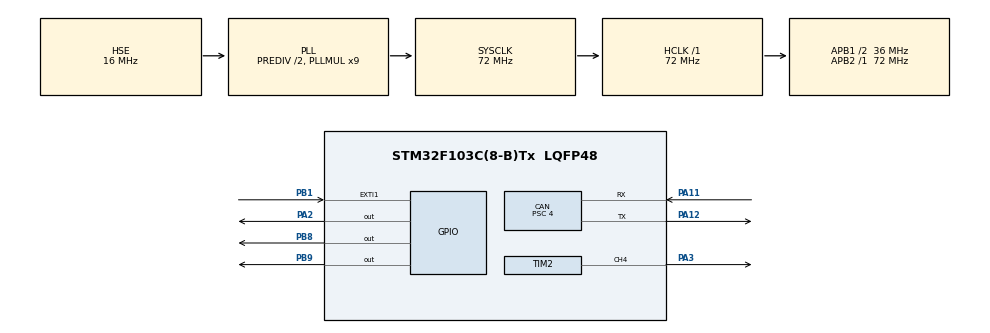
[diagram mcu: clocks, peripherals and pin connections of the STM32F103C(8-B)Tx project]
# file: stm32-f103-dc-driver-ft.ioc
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CAN.BS1=CAN_BS1_7TQ
CAN.CalculateTimeBit=1000
CAN.CalculateTimeQuantum=111.11111111111111
CAN.Prescaler=4
FREERTOS.Tasks01=firstTask,24,128,StartDefaultTask,Default,NULL,Dynamic,NULL,NULL;secondTask,8,128,StartTask02,Default,NULL,Dynamic,NULL,NULL;thirdTask,8,128,StartTask03,Default,NULL,Dynamic,NULL,NULL
Mcu.Family=STM32F1
Mcu.Name=STM32F103C(8-B)Tx
Mcu.Package=LQFP48
NVIC.EXTI1_IRQn=true\:0\:0\:false\:false\:true\:false\:true\:true
NVIC.PriorityGroup=NVIC_PRIORITYGROUP_4
NVIC.TIM1_UP_IRQn=true\:0\:0\:false\:false\:true\:true\:true\:true
NVIC.TIM4_IRQn=true\:0\:0\:false\:false\:true\:false\:false\:true
NVIC.TimeBase=TIM4_IRQn
NVIC.TimeBaseIP=TIM4
NVIC.USB_LP_CAN1_RX0_IRQn=true\:0\:0\:false\:false\:true\:false\:true\:true
PA0-WKUP.Mode=SYS_WakeUp0
PA0-WKUP.Signal=SYS_WKUP
PA11.Mode=Master
PA11.Signal=CAN_RX
PA12.Mode=Master
PA12.Signal=CAN_TX
PA13.Mode=Trace_Asynchronous_SW
PA13.Signal=SYS_JTMS-SWDIO
PA14.Mode=Trace_Asynchronous_SW
PA14.Signal=SYS_JTCK-SWCLK
PA2.Signal=GPIO_Output
PA3.Signal=S_TIM2_CH4
PB1.Signal=GPXTI1
PB3.Mode=Trace_Asynchronous_SW
PB3.Signal=SYS_JTDO-TRACESWO
PB8.Signal=GPIO_Output
PB9.Signal=GPIO_Output
PD0-OSC_IN.Mode=HSE-External-Oscillator
PD0-OSC_IN.Signal=RCC_OSC_IN
PD1-OSC_OUT.Mode=HSE-External-Oscillator
PD1-OSC_OUT.Signal=RCC_OSC_OUT
ProjectManager.HeapSize=0x200
ProjectManager.StackSize=0x400
ProjectManager.TargetToolchain=STM32CubeIDE
RCC.AHBFreq_Value=72000000
RCC.APB1CLKDivider=RCC_HCLK_DIV2
RCC.APB1Freq_Value=36000000
RCC.APB1TimFreq_Value=72000000
RCC.APB2Freq_Value=72000000
RCC.APB2TimFreq_Value=72000000
RCC.HCLKFreq_Value=72000000
RCC.HSEDivPLL=RCC_HSE_PREDIV_DIV2
RCC.HSE_VALUE=16000000
RCC.PLLMUL=RCC_PLL_MUL9
RCC.PLLSourceVirtual=RCC_PLLSOURCE_HSE
RCC.SYSCLKFreq_VALUE=72000000
RCC.SYSCLKSource=RCC_SYSCLKSOURCE_PLLCLK
RCC.USBFreq_Value=72000000
SH.S_TIM2_CH4.0=TIM2_CH4,PWM Generation4 CH4
TIM2.Channel-PWM\ Generation4\ CH4=TIM_CHANNEL_4
TIM2.Period=3599
TIM2.Prescaler=1
VP_FREERTOS_VS_CMSIS_V2.Mode=CMSIS_V2
VP_SYS_VS_tim4.Mode=TIM4
VP_TIM1_VS_ClockSourceINT.Mode=Internal
VP_TIM2_VS_ClockSourceINT.Mode=Internal
board=custom

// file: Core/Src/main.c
/* USER CODE BEGIN Header */
/**
  ******************************************************************************
  * @file           : main.c
  * @brief          : Main program body
  ******************************************************************************
  * @attention
  *
  * <h2><center>&copy; Copyright (c) 2020 STMicroelectronics.
  * All rights reserved.</center></h2>
  *
  * This software component is licensed by ST under BSD 3-Clause license,
  * the "License"; You may not use this file except in compliance with the
  * License. You may obtain a copy of the License at:
  *                        opensource.org/licenses/BSD-3-Clause
  *
  ******************************************************************************
  */
/* USER CODE END Header */
#include "main.h"
#include "cmsis_os.h"

/* USER CODE BEGIN PD */
#define _CW 0
#define _CCW 1
#define _STOP 2
/* USER CODE END PD */

CAN_HandleTypeDef hcan;

TIM_HandleTypeDef htim1;
TIM_HandleTypeDef htim2;

/* Definitions for firstTask */
osThreadId_t firstTaskHandle;
const osThreadAttr_t firstTask_attributes = {
  .name = "firstTask",
  .priority = (osPriority_t) osPriorityNormal,
  .stack_size = 128 * 4
};
/* Definitions for secondTask */
osThreadId_t secondTaskHandle;
const osThreadAttr_t secondTask_attributes = {
  .name = "secondTask",
  .priority = (osPriority_t) osPriorityLow,
  .stack_size = 128 * 4
};
/* Definitions for thirdTask */
osThreadId_t thirdTaskHandle;
const osThreadAttr_t thirdTask_attributes = {
  .name = "thirdTask",
  .priority = (osPriority_t) osPriorityLow,
  .stack_size = 128 * 4
};
/* USER CODE BEGIN PV */
CAN_TxHeaderTypeDef pHeader;
CAN_RxHeaderTypeDef pRxHeader;
CAN_FilterTypeDef sFilterConfig;
uint32_t TxMailbox;

uint8_t driver_tx_data[4] = {0};
uint8_t can_rx_control_data[8] = {0};
uint8_t can_rx_side;
uint8_t can_rx_speed;

uint8_t can_tx_side;

volatile uint16_t encoder_tick;
volatile uint16_t f;
uint8_t encoder_speed;
uint16_t pwm;
uint16_t dc_driver_pwm = 0;

uint32_t encoder_ratio = 861;
uint32_t header_id = 0x3A;
uint32_t filter_id = 0x3F;
uint32_t input_capture = 0;
uint32_t sys_tick;
uint32_t tim1_tick;
uint32_t can;
//double inc = 0;
//double u_pwm = 0;

uint8_t sp = 0;
uint8_t current_st = 0;

float _dt = 1;
float _Max = 3600;
float _Min = 0;
float _max = 500;
float _min = -500;
float _Kp = 1.0;
float _Kd = 1.0;
float _pre_error = 0;

float u_pwm = 0;
float u_pwm_right = 0;
float u_pwm_left = 0;

struct a {
	int a;
	int b;
};

enum States
{
	State_Start,
	State_CW,
	State_CCW,
	State_Stop
};

uint8_t status = State_CCW;
/* USER CODE END PV */

void SystemClock_Config(void);
static void MX_GPIO_Init(void);
static void MX_CAN_Init(void);
static void MX_TIM2_Init(void);
static void MX_TIM1_Init(void);
void StartDefaultTask(void *argument);
void StartTask02(void *argument);
void StartTask03(void *argument);

/* USER CODE BEGIN 0 */
float calculate_pwm( float target_speed, float current_speed )
{
	float error = target_speed - current_speed;
	float Pout = _Kp * error;
	float derivative = (error - _pre_error) / _dt;
	float Dout = _Kd * derivative;
	float output = Pout + Dout;
    if( output > _max )
        output = _max;
    else if( output < _min )
        output = _min;
    _pre_error = error;
    return output;
}

/* USER CODE END 0 */

int main(void)
{

  /* MCU Configuration--------------------------------------------------------*/

  /* Reset of all peripherals, Initializes the Flash interface and the Systick. */
	HAL_Init();

  /* Configure the system clock */
  SystemClock_Config();

  /* Initialize all configured peripherals */
  MX_GPIO_Init();
  MX_CAN_Init();
  MX_TIM2_Init();
  MX_TIM1_Init();
  /* USER CODE BEGIN 2 */
  HAL_TIM_Base_Start_IT(&htim1);
  HAL_TIM_PWM_Start(&htim2, TIM_CHANNEL_4);
  HAL_GPIO_WritePin(GPIOA,GPIO_PIN_2,GPIO_PIN_SET);

  pHeader.DLC = 4;
  pHeader.IDE = CAN_ID_STD;
  pHeader.RTR = CAN_RTR_DATA;
  pHeader.StdId = header_id;

  sFilterConfig.FilterFIFOAssignment = CAN_FILTER_FIFO0;
  sFilterConfig.FilterIdHigh = filter_id <<5;
  sFilterConfig.FilterIdLow = 0;
  sFilterConfig.FilterMaskIdHigh = 0;
  sFilterConfig.FilterMaskIdLow = 0;
  sFilterConfig.FilterScale = CAN_FILTERSCALE_16BIT;
  sFilterConfig.FilterMode = CAN_FILTERMODE_IDLIST;
  sFilterConfig.FilterActivation = ENABLE;
  HAL_CAN_ConfigFilter(&hcan, &sFilterConfig);

  HAL_CAN_Start(&hcan);
  HAL_CAN_ActivateNotification(&hcan, CAN_IT_RX_FIFO0_MSG_PENDING);
  /* USER CODE END 2 */

  /* Init scheduler */
  osKernelInitialize();

  /* Create the thread(s) */
  /* creation of firstTask */
  firstTaskHandle = osThreadNew(StartDefaultTask, NULL, &firstTask_attributes);

  /* creation of secondTask */
  secondTaskHandle = osThreadNew(StartTask02, NULL, &secondTask_attributes);

  /* creation of thirdTask */
  thirdTaskHandle = osThreadNew(StartTask03, NULL, &thirdTask_attributes);

  /* Start scheduler */
  osKernelStart();

  /* We should never get here as control is now taken by the scheduler */
  /* Infinite loop */
  while (1)
  {

  }
}

void SystemClock_Config(void)
{
  RCC_OscInitTypeDef RCC_OscInitStruct = {0};
  RCC_ClkInitTypeDef RCC_ClkInitStruct = {0};

  /** Initializes the RCC Oscillators according to the specified parameters
  * in the RCC_OscInitTypeDef structure.
  */
  RCC_OscInitStruct.OscillatorType = RCC_OSCILLATORTYPE_HSE;
  RCC_OscInitStruct.HSEState = RCC_HSE_ON;
  RCC_OscInitStruct.HSEPredivValue = RCC_HSE_PREDIV_DIV2;
  RCC_OscInitStruct.HSIState = RCC_HSI_ON;
  RCC_OscInitStruct.PLL.PLLState = RCC_PLL_ON;
  RCC_OscInitStruct.PLL.PLLSource = RCC_PLLSOURCE_HSE;
  RCC_OscInitStruct.PLL.PLLMUL = RCC_PLL_MUL9;
  if (HAL_RCC_OscConfig(&RCC_OscInitStruct) != HAL_OK)
  {
    Error_Handler();
  }
  /** Initializes the CPU, AHB and APB buses clocks
  */
  RCC_ClkInitStruct.ClockType = RCC_CLOCKTYPE_HCLK|RCC_CLOCKTYPE_SYSCLK
                              |RCC_CLOCKTYPE_PCLK1|RCC_CLOCKTYPE_PCLK2;
  RCC_ClkInitStruct.SYSCLKSource = RCC_SYSCLKSOURCE_PLLCLK;
  RCC_ClkInitStruct.AHBCLKDivider = RCC_SYSCLK_DIV1;
  RCC_ClkInitStruct.APB1CLKDivider = RCC_HCLK_DIV2;
  RCC_ClkInitStruct.APB2CLKDivider = RCC_HCLK_DIV1;

  if (HAL_RCC_ClockConfig(&RCC_ClkInitStruct, FLASH_LATENCY_2) != HAL_OK)
  {
    Error_Handler();
  }
}

static void MX_CAN_Init(void)
{

  hcan.Instance = CAN1;
  hcan.Init.Prescaler = 4;
  hcan.Init.Mode = CAN_MODE_NORMAL;
  hcan.Init.SyncJumpWidth = CAN_SJW_1TQ;
  hcan.Init.TimeSeg1 = CAN_BS1_7TQ;
  hcan.Init.TimeSeg2 = CAN_BS2_1TQ;
  hcan.Init.TimeTriggeredMode = DISABLE;
  hcan.Init.AutoBusOff = DISABLE;
  hcan.Init.AutoWakeUp = DISABLE;
  hcan.Init.AutoRetransmission = DISABLE;
  hcan.Init.ReceiveFifoLocked = DISABLE;
  hcan.Init.TransmitFifoPriority = DISABLE;
  if (HAL_CAN_Init(&hcan) != HAL_OK)
  {
    Error_Handler();
  }

}

static void MX_TIM1_Init(void)
{

  TIM_ClockConfigTypeDef sClockSourceConfig = {0};
  TIM_MasterConfigTypeDef sMasterConfig = {0};

  htim1.Instance = TIM1;
  htim1.Init.Prescaler = 719;
  htim1.Init.CounterMode = TIM_COUNTERMODE_UP;
  htim1.Init.Period = 19999;
  htim1.Init.ClockDivision = TIM_CLOCKDIVISION_DIV1;
  htim1.Init.RepetitionCounter = 0;
  htim1.Init.AutoReloadPreload = TIM_AUTORELOAD_PRELOAD_DISABLE;
  if (HAL_TIM_Base_Init(&htim1) != HAL_OK)
  {
    Error_Handler();
  }
  sClockSourceConfig.ClockSource = TIM_CLOCKSOURCE_INTERNAL;
  if (HAL_TIM_ConfigClockSource(&htim1, &sClockSourceConfig) != HAL_OK)
  {
    Error_Handler();
  }
  sMasterConfig.MasterOutputTrigger = TIM_TRGO_RESET;
  sMasterConfig.MasterSlaveMode = TIM_MASTERSLAVEMODE_DISABLE;
  if (HAL_TIMEx_MasterConfigSynchronization(&htim1, &sMasterConfig) != HAL_OK)
  {
    Error_Handler();
  }

}

static void MX_TIM2_Init(void)
{

  TIM_ClockConfigTypeDef sClockSourceConfig = {0};
  TIM_MasterConfigTypeDef sMasterConfig = {0};
  TIM_OC_InitTypeDef sConfigOC = {0};

  htim2.Instance = TIM2;
  htim2.Init.Prescaler = 1;
  htim2.Init.CounterMode = TIM_COUNTERMODE_UP;
  htim2.Init.Period = 3599;
  htim2.Init.ClockDivision = TIM_CLOCKDIVISION_DIV1;
  htim2.Init.AutoReloadPreload = TIM_AUTORELOAD_PRELOAD_DISABLE;
  if (HAL_TIM_Base_Init(&htim2) != HAL_OK)
  {
    Error_Handler();
  }
  sClockSourceConfig.ClockSource = TIM_CLOCKSOURCE_INTERNAL;
  if (HAL_TIM_ConfigClockSource(&htim2, &sClockSourceConfig) != HAL_OK)
  {
    Error_Handler();
  }
  if (HAL_TIM_PWM_Init(&htim2) != HAL_OK)
  {
    Error_Handler();
  }
  sMasterConfig.MasterOutputTrigger = TIM_TRGO_RESET;
  sMasterConfig.MasterSlaveMode = TIM_MASTERSLAVEMODE_DISABLE;
  if (HAL_TIMEx_MasterConfigSynchronization(&htim2, &sMasterConfig) != HAL_OK)
  {
    Error_Handler();
  }
  sConfigOC.OCMode = TIM_OCMODE_PWM1;
  sConfigOC.Pulse = 0;
  sConfigOC.OCPolarity = TIM_OCPOLARITY_HIGH;
  sConfigOC.OCFastMode = TIM_OCFAST_DISABLE;
  if (HAL_TIM_PWM_ConfigChannel(&htim2, &sConfigOC, TIM_CHANNEL_4) != HAL_OK)
  {
    Error_Handler();
  }
  HAL_TIM_MspPostInit(&htim2);

}

static void MX_GPIO_Init(void)
{
  GPIO_InitTypeDef GPIO_InitStruct = {0};

  /* GPIO Ports Clock Enable */
  __HAL_RCC_GPIOD_CLK_ENABLE();
  __HAL_RCC_GPIOA_CLK_ENABLE();
  __HAL_RCC_GPIOB_CLK_ENABLE();

  /*Configure GPIO pin Output Level */
  HAL_GPIO_WritePin(GPIOA, GPIO_PIN_2, GPIO_PIN_RESET);

  /*Configure GPIO pin Output Level */
  HAL_GPIO_WritePin(GPIOB, GPIO_PIN_8|GPIO_PIN_9, GPIO_PIN_RESET);

  /*Configure GPIO pin : PA2 */
  GPIO_InitStruct.Pin = GPIO_PIN_2;
  GPIO_InitStruct.Mode = GPIO_MODE_OUTPUT_PP;
  GPIO_InitStruct.Pull = GPIO_NOPULL;
  GPIO_InitStruct.Speed = GPIO_SPEED_FREQ_LOW;
  HAL_GPIO_Init(GPIOA, &GPIO_InitStruct);

  /*Configure GPIO pin : PB1 */
  GPIO_InitStruct.Pin = GPIO_PIN_1;
  GPIO_InitStruct.Mode = GPIO_MODE_IT_RISING;
  GPIO_InitStruct.Pull = GPIO_NOPULL;
  HAL_GPIO_Init(GPIOB, &GPIO_InitStruct);

  /*Configure GPIO pins : PB8 PB9 */
  GPIO_InitStruct.Pin = GPIO_PIN_8|GPIO_PIN_9;
  GPIO_InitStruct.Mode = GPIO_MODE_OUTPUT_PP;
  GPIO_InitStruct.Pull = GPIO_NOPULL;
  GPIO_InitStruct.Speed = GPIO_SPEED_FREQ_LOW;
  HAL_GPIO_Init(GPIOB, &GPIO_InitStruct);

  /* EXTI interrupt init*/
  HAL_NVIC_SetPriority(EXTI1_IRQn, 0, 0);
  HAL_NVIC_EnableIRQ(EXTI1_IRQn);

}

/* USER CODE BEGIN 4 */
void rotate_ccw(uint8_t r_speed) {
	HAL_GPIO_WritePin(GPIOB,GPIO_PIN_8,GPIO_PIN_RESET);
	HAL_GPIO_WritePin(GPIOB,GPIO_PIN_9,GPIO_PIN_SET);
	can_tx_side = 1;
	float inc = calculate_pwm((float)(r_speed), (float)encoder_speed);
	u_pwm += inc;
	if( u_pwm > _Max )
		u_pwm = _Max;
	else if( u_pwm < _Min )
		u_pwm = _Min;
	dc_driver_pwm = u_pwm;
	TIM2->CCR4 = (uint16_t)dc_driver_pwm;
}

void rotate_cw(uint8_t l_speed) {
	HAL_GPIO_WritePin(GPIOB,GPIO_PIN_8,GPIO_PIN_SET);
	HAL_GPIO_WritePin(GPIOB,GPIO_PIN_9,GPIO_PIN_RESET);
	can_tx_side = 2;
	float inc = calculate_pwm((float)(l_speed), (float)encoder_speed);
	u_pwm += inc;
	if( u_pwm > _Max )
		u_pwm = _Max;
	else if( u_pwm < _Min )
		u_pwm = _Min;
	dc_driver_pwm = u_pwm;
	pwm = TIM2->CCR4;
	TIM2->CCR4 = (uint16_t)dc_driver_pwm;
}

void reduce_speed_ccw() {
	HAL_GPIO_WritePin(GPIOB,GPIO_PIN_8,GPIO_PIN_RESET);
	HAL_GPIO_WritePin(GPIOB,GPIO_PIN_9,GPIO_PIN_SET);
	can_tx_side = 1;
	float inc = calculate_pwm(0, (float)encoder_speed);
	u_pwm += inc;
	//TIM2->CCR4 -= 1;
	pwm = TIM2->CCR4;
	if( u_pwm > _Max )
		u_pwm = _Max;
	else if( u_pwm < _Min )
		u_pwm = _Min;
	dc_driver_pwm = u_pwm;
	//for (int i = 0; i<50000; ++i) {__NOP();}
	//HAL_Delay(10);
	TIM2->CCR4 = (uint16_t)dc_driver_pwm;
}

void reduce_speed_cw() {
	HAL_GPIO_WritePin(GPIOB,GPIO_PIN_8,GPIO_PIN_SET);
	HAL_GPIO_WritePin(GPIOB,GPIO_PIN_9,GPIO_PIN_RESET);
	can_tx_side = 2;
	float inc = calculate_pwm(0, (float)encoder_speed);
	u_pwm += inc;
	//TIM2->CCR4 -= 1;
	pwm = TIM2->CCR4;
	if( u_pwm > _Max )
		u_pwm = _Max;
	else if( u_pwm < _Min )
		u_pwm = _Min;
	dc_driver_pwm = u_pwm;
	//for (int i = 0; i<50000; ++i) {__NOP();}
	//HAL_Delay(10);
	TIM2->CCR4 = (uint16_t)dc_driver_pwm;
}

void stop_movement(void)
{
	HAL_GPIO_WritePin(GPIOB,GPIO_PIN_8,GPIO_PIN_RESET);
	HAL_GPIO_WritePin(GPIOB,GPIO_PIN_9,GPIO_PIN_RESET);
	TIM2->CCR4 = 200;
	u_pwm = 200;
}
/* USER CODE END 4 */

void StartDefaultTask(void *argument)
{
  /* USER CODE BEGIN 5 */
  /* Infinite loop */
  for(;;)
  {
    if ((can_rx_side == 1)&&(status == State_CCW)) {
		rotate_ccw(can_rx_speed);
		status = State_CCW;
		current_st = 1;
	}
	else if ((can_rx_side == 0)&&(status == State_CCW)) {
		current_st = 2;
		//while (encoder_speed != 0) {
			//while (TIM2->CCR4 > 50) {
			reduce_speed_ccw();
		//}
		if (encoder_speed <= 5) {
			stop_movement();
			status = State_CW;
		}
	}
	else if ((can_rx_side == 0)&&(status == State_CW)) {
		rotate_cw(can_rx_speed);
		current_st = 3;
		status = State_CW;
	}
	else if ((can_rx_side == 1)&&(status == State_CW)) {
		current_st = 4;
		//while (encoder_speed != 0) {
		//while (TIM2->CCR4 > 50) {
			reduce_speed_cw();
		//}
		if (encoder_speed <= 5) {
			stop_movement();
			status = State_CCW;
		}
	}
	else if (can_rx_speed == 0) {
		current_st = 5;
		stop_movement();
	}
//	  rotate_ccw(60);
    osDelay(20);
  }
  /* USER CODE END 5 */
}

void StartTask02(void *argument)
{
  /* USER CODE BEGIN StartTask02 */
  /* Infinite loop */
  for(;;)
  {
      osDelay(5000);
  }
  /* USER CODE END StartTask02 */
}

void StartTask03(void *argument)
{
  /* USER CODE BEGIN StartTask03 */
  /* Infinite loop */
  for(;;)
  {
	driver_tx_data[0] = encoder_speed;
	driver_tx_data[1] = can_tx_side;
	HAL_CAN_AddTxMessage(&hcan, &pHeader, driver_tx_data, &TxMailbox);
    osDelay(20);
  }
  /* USER CODE END StartTask03 */
}

void HAL_TIM_PeriodElapsedCallback(TIM_HandleTypeDef *htim)
{
  if (htim->Instance == TIM4) {
	sys_tick++;
    HAL_IncTick();
  }
  /* USER CODE BEGIN Callback 1 */
  if (htim->Instance == TIM1) {
	encoder_speed = (uint8_t)(encoder_tick*(float)300/encoder_ratio);
	encoder_tick = 0;
  }
  /* USER CODE END Callback 1 */
}

void Error_Handler(void)
{
}

/************************ (C) COPYRIGHT STMicroelectronics *****END OF FILE****/
